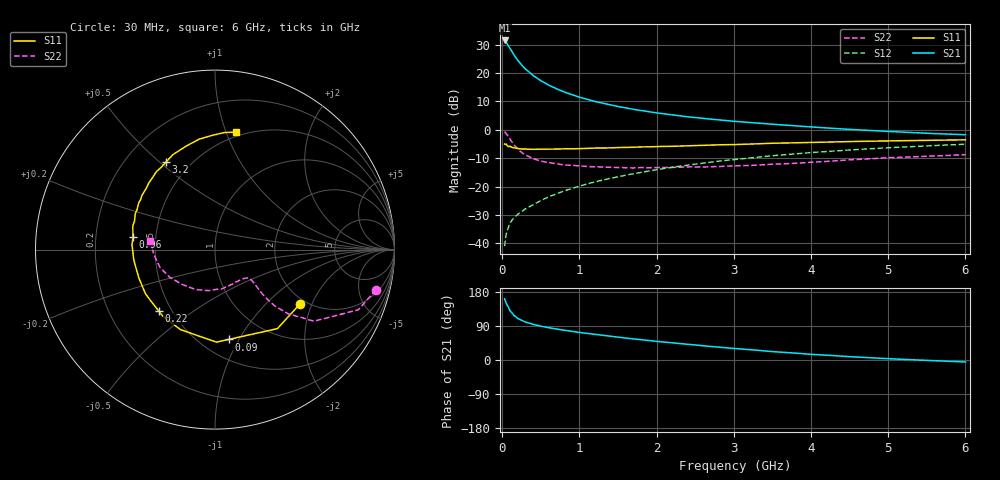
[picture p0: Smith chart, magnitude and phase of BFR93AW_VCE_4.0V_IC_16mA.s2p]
! Infineon Technologies  Discrete & RF Semiconductors
! BFR93AW
! VCE =  4.0 V,  IC =  16 mA
! Common Emitter S-Parameters:  Nov 2015
# GHz  S  MA  R  50
!  f  S11  S21  S12  S22
! GHz  MAG  ANG  MAG  ANG  MAG  ANG  MAG  ANG
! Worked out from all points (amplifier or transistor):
!   206 points, 30 MHz to 6 GHz, reference 50 ohm
!   highest |S21| = 31.5 dB at 30 MHz (marker M1)
!   |S21| within 3 dB of that: start of sweep to 105.2 MHz
!   unconditionally stable (mu >= 1): 607.6 MHz to 2.223 GHz
!   at 200 MHz: K = 0.64, MSG = 27.2 dB, |S12| = -29.8 dB
!   at 1.56 GHz: K = 1.05, MAG = 10.7 dB, |S12| = -16.2 dB
!   at 6 GHz: K = 0.91, MSG = 1.7 dB, |S12| = -5.1 dB
!   S11 on the Smith chart (normalised r, x): 30 MHz: 1.85, -1.64; 90 MHz: 0.67, -0.91; 220 MHz: 0.43, -0.37; 960 MHz: 0.37, +0.07; 3.2 GHz: 0.37, +0.53; 6 GHz: 0.46, +1.08
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0.03  0.5619 -32.6  37.43 161.6  0.0089 76.8  0.925 -14.0
0.05  0.5611 -51.7  35.17 149.8  0.0143 71.5  0.8658 -22.8
0.09  0.5063 -81.4  28.47 134.6  0.021 61.0  0.7137 -32.7
0.1  0.5157 -89.1  27.2 129.8  0.0228 59.4  0.68 -35.9
0.15  0.4854 -113.3  20.92 117.6  0.0281 57.2  0.5438 -41.2
0.2  0.471 -128.2  16.76 109.8  0.0323 56.7  0.4576 -43.3
0.22  0.4638 -132.7  15.57 107.8  0.0338 57.2  0.4335 -43.4
0.26  0.458 -141.3  13.4 103.5  0.0369 58.3  0.3899 -43.4
0.3  0.4589 -147.6  11.75 100.0  0.0404 59.6  0.3599 -43.1
0.4  0.4527 -159.2  8.989 93.8  0.0477 62.5  0.3095 -41.4
0.5  0.4525 -167.5  7.293 89.0  0.0568 65.1  0.2798 -40.4
0.6  0.4563 -173.3  6.115 85.1  0.0656 66.1  0.2637 -39.8
0.7  0.4573 -178.5  5.288 81.6  0.0744 67.3  0.2521 -40.2
0.96  0.4633 171.0  3.908 73.9  0.0981 68.6  0.2335 -42.7
1.04  0.4669 168.4  3.621 71.7  0.1057 68.7  0.2288 -44.4
1.5  0.4872 155.9  2.565 60.3  0.1485 67.9  0.2171 -54.9
2.02  0.5068 143.2  1.967 48.8  0.2 65.0  0.2163 -70.0
3.1  0.5534 121.0  1.377 29.0  0.3082 56.1  0.2327 -102.2
3.2  0.5589 119.2  1.344 27.4  0.3182 55.1  0.2351 -105.8
4.1  0.6023 104.1  1.099 13.9  0.405 45.8  0.2721 -137.2
5.1  0.6392 90.4  0.921 2.5  0.4899 34.8  0.3251 -165.1
6  0.665 80.0  0.818 -5.2  0.5564 25.0  0.3642 172.4
